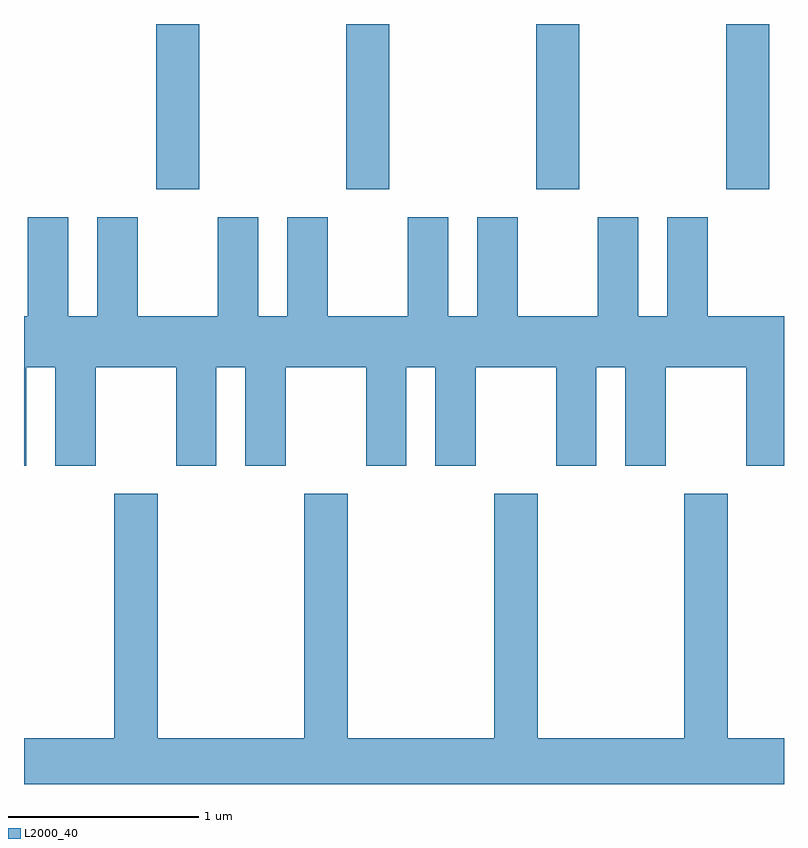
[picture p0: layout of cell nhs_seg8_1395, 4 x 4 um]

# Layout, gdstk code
import gdstk
lib = gdstk.Library(unit=1e-6, precision=1e-09)
def R(c, l, rs):  # rectangles x0, y0, x1, y1
    for r in rs: c.add(gdstk.rectangle(r[:2], r[2:], *l))
def A(c, l, x, y, w, h, nx, ny, dx, dy):  # array of equal rectangles
    R(c, l, [(x+i*dx, y+j*dy, x+i*dx+w, y+j*dy+h) for i in range(nx) for j in range(ny)])
def P(c, l, *ps):  # polygons
    for p in ps: c.add(gdstk.Polygon(p, *l))
L2000_40 = (2000, 40)

nhs_seg8_1395 = lib.new_cell('nhs_seg8_1395')
A(nhs_seg8_1395, L2000_40, 226.306, 1939.471, 0.228, 0.871, 4, 1, 1, 0)
P(nhs_seg8_1395, L2000_40, [(226.411,1938.016),(226.624,1938.016),(226.624,1938.536),(226.776,1938.536),(226.776,1938.016),(226.989,1938.016),(226.989,1938.536),(227.411,1938.536),(227.411,1938.016),(227.624,1938.016),(227.624,1938.536),(227.776,1938.536),(227.776,1938.016),(227.989,1938.016),(227.989,1938.536),(228.411,1938.536),(228.411,1938.016),(228.624,1938.016),(228.624,1938.536),(228.776,1938.536),(228.776,1938.016),(228.989,1938.016),(228.989,1938.536),(229.411,1938.536),(229.411,1938.016),(229.611,1938.016),(229.611,1938.804),(229.209,1938.804),(229.209,1939.324),(228.996,1939.324),(228.996,1938.804),(228.844,1938.804),(228.844,1939.324),(228.631,1939.324),(228.631,1938.804),(228.209,1938.804),(228.209,1939.324),(227.996,1939.324),(227.996,1938.804),(227.844,1938.804),(227.844,1939.324),(227.631,1939.324),(227.631,1938.804),(227.209,1938.804),(227.209,1939.324),(226.996,1939.324),(226.996,1938.804),(226.844,1938.804),(226.844,1939.324),(226.631,1939.324),(226.631,1938.804),(226.209,1938.804),(226.209,1939.324),(225.996,1939.324),(225.996,1938.804),(225.844,1938.804),(225.844,1939.324),(225.631,1939.324),(225.631,1938.804),(225.611,1938.804),(225.611,1938.016),(225.624,1938.016),(225.624,1938.536),(225.776,1938.536),(225.776,1938.016),(225.989,1938.016),(225.989,1938.536),(226.411,1938.536)],
  [(229.611,1936.584),(229.314,1936.584),(229.314,1937.869),(229.086,1937.869),(229.086,1936.584),(228.314,1936.584),(228.314,1937.869),(228.086,1937.869),(228.086,1936.584),(227.314,1936.584),(227.314,1937.869),(227.086,1937.869),(227.086,1936.584),(226.314,1936.584),(226.314,1937.869),(226.086,1937.869),(226.086,1936.584),(225.611,1936.584),(225.611,1936.342),(229.611,1936.342)])

lib.write_gds('nhs_seg8_1395.gds')
